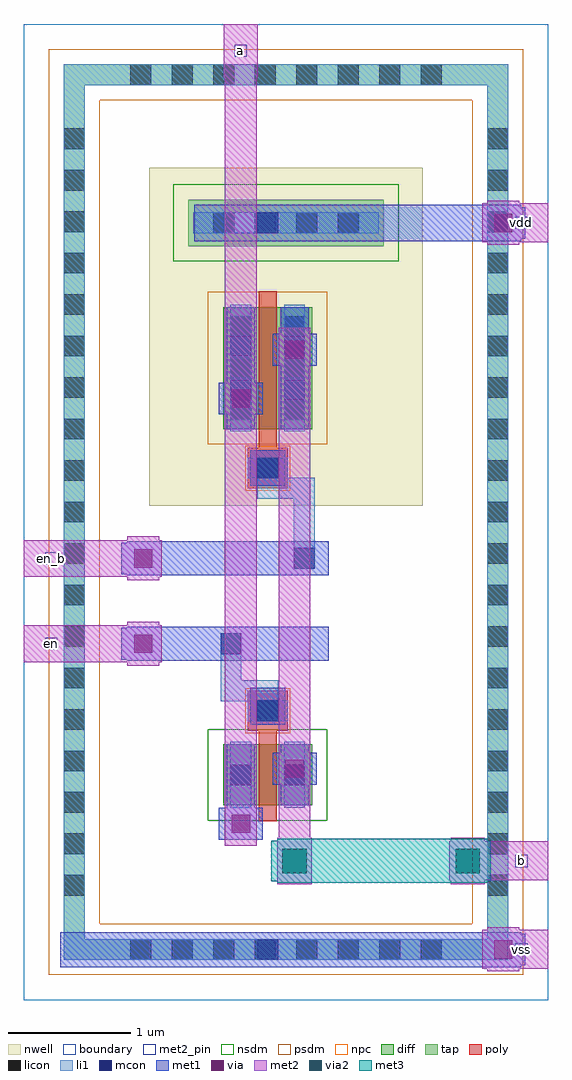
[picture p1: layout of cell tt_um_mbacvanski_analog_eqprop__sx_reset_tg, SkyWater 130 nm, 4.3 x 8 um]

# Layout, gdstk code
import gdstk
lib = gdstk.Library(unit=1e-6, precision=1e-09)
def R(c, l, rs):  # rectangles x0, y0, x1, y1
    for r in rs: c.add(gdstk.rectangle(r[:2], r[2:], *l))
def A(c, l, x, y, w, h, nx, ny, dx, dy):  # array of equal rectangles
    R(c, l, [(x+i*dx, y+j*dy, x+i*dx+w, y+j*dy+h) for i in range(nx) for j in range(ny)])
nwell = (64, 20)
diff = (65, 20)
tap = (65, 44)
poly = (66, 20)
licon = (66, 44)
li1 = (67, 20)
mcon = (67, 44)
met1 = (68, 20)
via = (68, 44)
met2_pin = (69, 16)
met2 = (69, 20)
via2 = (69, 44)
met3 = (70, 20)
nsdm = (93, 44)
psdm = (94, 20)
npc = (95, 20)
boundary = (235, 4)

tt_um_mbacvanski_analog_ = lib.new_cell('tt_um_mbacvanski_analog_eqprop__tgnt')
R(tt_um_mbacvanski_analog_, diff, [(-0.365,-0.405,0.365,0.095)])
R(tt_um_mbacvanski_analog_, poly, [(-0.075,-0.535,0.075,0.205), (-0.165,0.205,0.165,0.535)])
R(tt_um_mbacvanski_analog_, licon, [(-0.305,-0.24,-0.135,-0.07), (0.135,-0.24,0.305,-0.07), (-0.085,0.285,0.085,0.455)])
R(tt_um_mbacvanski_analog_, li1, [(-0.305,-0.425,-0.135,0.115), (0.135,-0.425,0.305,0.115), (-0.165,0.285,0.165,0.455)])
R(tt_um_mbacvanski_analog_, mcon, [(-0.305,-0.24,-0.135,-0.07), (0.135,-0.24,0.305,-0.07), (-0.085,0.285,0.085,0.455)])
R(tt_um_mbacvanski_analog_, met1, [(-0.335,-0.405,-0.105,0.095), (0.105,-0.405,0.335,0.095), (-0.145,0.255,0.145,0.485)])
R(tt_um_mbacvanski_analog_, nsdm, [(-0.49,-0.53,0.49,0.22)])
R(tt_um_mbacvanski_analog_, npc, [(-0.185,0.185,0.185,0.555)])
tt_um_mbacvanski_analog_.add(gdstk.Label('G', (0,0.37), layer=67, texttype=5))
tt_um_mbacvanski_analog_.add(gdstk.Label('S', (0.22,-0.155), layer=67, texttype=5))
tt_um_mbacvanski_analog_.add(gdstk.Label('D', (-0.22,-0.155), layer=67, texttype=5))

c_tt_um_mbacvanski_analog_ = lib.new_cell('tt_um_mbacvanski_analog_eqprop__tgpb')
R(c_tt_um_mbacvanski_analog_, nwell, [(-0.545,-0.82,0.545,0.99)])
R(c_tt_um_mbacvanski_analog_, diff, [(-0.365,-0.32,0.365,0.68)])
R(c_tt_um_mbacvanski_analog_, poly, [(-0.165,-0.805,0.165,-0.475), (-0.075,-0.475,0.075,0.81)])
A(c_tt_um_mbacvanski_analog_, licon, -0.305, -0.245, 0.17, 0.17, 1, 3, 0, 0.34)
A(c_tt_um_mbacvanski_analog_, licon, 0.135, -0.245, 0.17, 0.17, 1, 3, 0, 0.34)
R(c_tt_um_mbacvanski_analog_, licon, [(-0.085,-0.725,0.085,-0.555)])
R(c_tt_um_mbacvanski_analog_, li1, [(-0.165,-0.725,0.165,-0.555), (-0.305,-0.34,-0.135,0.7), (0.135,-0.34,0.305,0.7)])
R(c_tt_um_mbacvanski_analog_, mcon, [(-0.085,-0.725,0.085,-0.555), (-0.305,-0.085,-0.135,0.085), (0.135,-0.085,0.305,0.085), (-0.305,0.275,-0.135,0.445), (0.135,0.275,0.305,0.445)])
R(c_tt_um_mbacvanski_analog_, met1, [(-0.145,-0.755,0.145,-0.525), (-0.335,-0.32,-0.105,0.68), (0.105,-0.32,0.335,0.68)])
R(c_tt_um_mbacvanski_analog_, psdm, [(-0.49,-0.445,0.49,0.805)])
R(c_tt_um_mbacvanski_analog_, npc, [(-0.185,-0.825,0.185,-0.455)])
c_tt_um_mbacvanski_analog_.add(gdstk.Label('G', (0,-0.64), layer=67, texttype=5))
c_tt_um_mbacvanski_analog_.add(gdstk.Label('S', (0.22,0.18), layer=67, texttype=5))
c_tt_um_mbacvanski_analog_.add(gdstk.Label('D', (-0.22,0.18), layer=67, texttype=5))

c_tt_um_mbacvanski_analog__ = lib.new_cell('tt_um_mbacvanski_analog_eqprop__sx_reset_tg')
R(c_tt_um_mbacvanski_analog__, nwell, [(1.03,4.05,3.27,6.82)])
R(c_tt_um_mbacvanski_analog__, tap, [(0.33,0.33,3.97,0.5), (0.33,0.5,0.5,7.5), (3.8,0.5,3.97,7.5), (1.35,6.18,2.95,6.56), (0.33,7.5,3.97,7.67)])
A(c_tt_um_mbacvanski_analog__, licon, 0.875, 0.33, 0.17, 0.17, 8, 2, 0.34, 7.17)
A(c_tt_um_mbacvanski_analog__, licon, 0.33, 0.855, 0.17, 0.17, 1, 19, 0, 0.34)
A(c_tt_um_mbacvanski_analog__, licon, 3.8, 0.855, 0.17, 0.17, 1, 19, 0, 0.34)
A(c_tt_um_mbacvanski_analog__, licon, 1.555, 6.285, 0.17, 0.17, 4, 1, 0.34, 0)
R(c_tt_um_mbacvanski_analog__, li1, [(0.33,0.33,3.97,0.5), (0.33,0.5,0.5,7.5), (3.8,0.5,3.97,7.5), (1.915,2.37,2.085,2.45), (1.615,2.45,2.085,2.62), (1.615,2.62,1.785,3.005), (2.215,3.535,2.385,4.11), (1.915,4.11,2.385,4.28), (1.915,4.28,2.085,4.36), (1.39,6.285,2.91,6.455), (0.33,7.5,3.97,7.67)])
R(c_tt_um_mbacvanski_analog__, mcon, [(1.915,0.33,2.085,0.5), (1.615,2.835,1.785,3.005), (2.215,3.535,2.385,3.705), (1.915,6.285,2.085,6.455)])
R(c_tt_um_mbacvanski_analog__, met1, [(0.3,0.27,4.08,0.285), (0.3,0.285,4.11,0.545), (0.3,0.545,4.08,0.555), (1.6,1.315,1.96,1.575), (1.665,1.575,1.895,1.895), (2.04,1.765,2.4,2.025), (1.855,2.27,2.145,2.56), (0.85,2.78,2.5,2.79), (0.8,2.79,2.5,3.05), (0.85,3.05,2.5,3.06), (0.85,3.48,2.5,3.49), (0.8,3.49,2.5,3.75), (0.85,3.75,2.5,3.76), (1.855,4.215,2.145,4.505), (1.6,4.8,1.96,5.06), (2.04,5.2,2.4,5.46), (1.4,6.22,4.08,6.24), (1.4,6.24,4.11,6.5), (1.4,6.5,4.08,6.52)])
R(c_tt_um_mbacvanski_analog__, via, [(3.855,0.34,4.005,0.49), (1.705,1.37,1.855,1.52), (2.145,1.82,2.295,1.97), (0.905,2.845,1.055,2.995), (0.905,3.545,1.055,3.695), (1.705,4.855,1.855,5.005), (2.145,5.255,2.295,5.405), (3.855,6.295,4.005,6.445)])
R(c_tt_um_mbacvanski_analog__, met2_pin, [(4.03,0.365,4.13,0.465), (4.03,1.09,4.13,1.19), (0.175,2.87,0.275,2.97), (0.175,3.57,0.275,3.67), (4.03,6.32,4.13,6.42), (1.73,7.73,1.83,7.83)])
R(c_tt_um_mbacvanski_analog__, met2, [(3.8,0.235,4.06,0.255), (3.76,0.255,4.3,0.575), (3.8,0.575,4.06,0.595), (2.08,0.95,2.36,1.33), (3.5,0.95,3.78,0.98), (3.49,0.98,4.3,1.3), (1.65,1.265,1.91,7.56), (3.5,1.3,3.78,1.33), (2.09,1.33,2.35,5.51), (0.85,2.74,1.11,2.77), (0,2.77,1.13,3.07), (0.85,3.07,1.11,3.1), (0.85,3.44,1.11,3.47), (0,3.47,1.13,3.77), (0.85,3.77,1.11,3.8), (3.8,6.19,4.06,6.21), (3.76,6.21,4.3,6.53), (3.8,6.53,4.06,6.55), (1.64,7.56,1.92,8)])
R(c_tt_um_mbacvanski_analog__, via2, [(2.12,1.04,2.32,1.24), (3.54,1.04,3.74,1.24)])
R(c_tt_um_mbacvanski_analog__, met3, [(2.08,0.96,3.8,0.975), (2.03,0.975,3.83,1.305), (2.08,1.305,3.8,1.32)])
R(c_tt_um_mbacvanski_analog__, nsdm, [(1.225,6.055,3.075,6.685)])
R(c_tt_um_mbacvanski_analog__, psdm, [(0.205,0.205,4.095,0.625), (0.205,0.625,0.625,7.375), (3.675,0.625,4.095,7.375), (0.205,7.375,4.095,7.795)])
R(c_tt_um_mbacvanski_analog__, boundary, [(0,0,4.3,8)])
c_tt_um_mbacvanski_analog__.add(gdstk.Reference(tt_um_mbacvanski_analog_, (2,2)))
c_tt_um_mbacvanski_analog__.add(gdstk.Reference(c_tt_um_mbacvanski_analog_, (2,5)))
c_tt_um_mbacvanski_analog__.add(gdstk.Label('vss', (4.08,0.415), layer=69, texttype=5))
c_tt_um_mbacvanski_analog__.add(gdstk.Label('vdd', (4.08,6.37), layer=69, texttype=5))
c_tt_um_mbacvanski_analog__.add(gdstk.Label('b', (4.08,1.14), layer=69, texttype=5))
c_tt_um_mbacvanski_analog__.add(gdstk.Label('en_b', (0.225,3.62), layer=69, texttype=5))
c_tt_um_mbacvanski_analog__.add(gdstk.Label('en', (0.225,2.92), layer=69, texttype=5))
c_tt_um_mbacvanski_analog__.add(gdstk.Label('a', (1.78,7.78), layer=69, texttype=5))

lib.write_gds('tt_um_mbacvanski_analog_eqprop__sx_reset_tg.gds')
